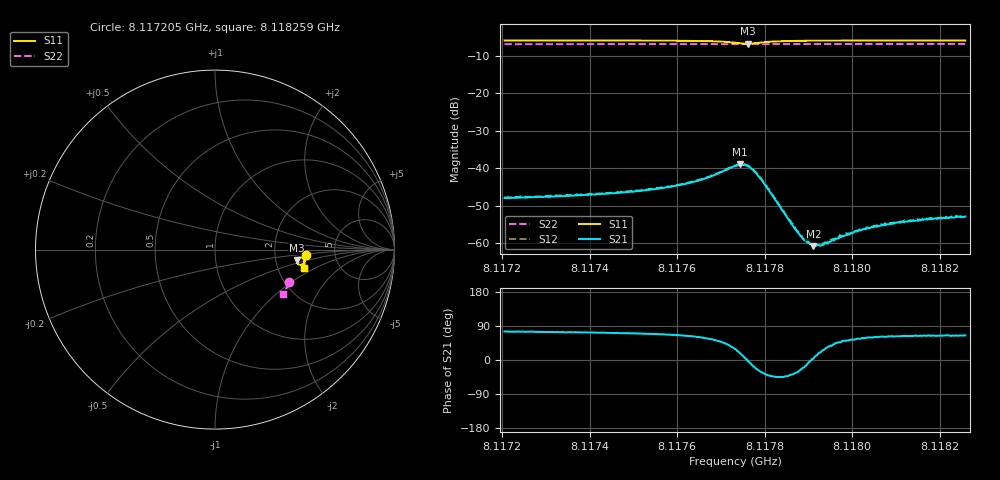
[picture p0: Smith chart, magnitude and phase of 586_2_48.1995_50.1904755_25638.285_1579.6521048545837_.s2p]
#  HZ  S  RI  R  50.00
! Rohde & Schwarz Vector Network Analyzer
! Rohde-Schwarz,ZNB20-2Port,1311601062101988,3.16
! Created: UTC 3/20/2024, 12:02:18 PM
! freq[Hz]  re:S11  im:S11  re:S21  im:S21  re:S12  im:S12  re:S22  im:S22
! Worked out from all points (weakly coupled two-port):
!   401 points, 8.117205 GHz to 8.118259 GHz, reference 50 ohm
!   highest |S21| = -38.96 dB at 8.117743 GHz (marker M1); lowest = -60.8 dB at 8.117911 GHz (marker M2)
!   lowest |S11| = -6.8 dB at 8.117761 GHz (marker M3), VSWR 2.70, Z = 131 - j20.1 ohm
!   |S11| at or under -10 dB: nowhere
!   |S22| runs from -6.9 to -6.8 dB; largest |S21 - S12| = 0.00047
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8.1172054e9  0.5055 -0.0312  0.00101 0.00389  0.00108 0.00395  0.4138 -0.1822
8.1173819e9  0.5038 -0.0461  0.0013 0.00419  0.00131 0.00426  0.4091 -0.1936
8.1174688e9  0.5025 -0.054  0.00154 0.00447  0.00158 0.00455  0.4067 -0.1991
8.1175584e9  0.5002 -0.0634  0.00199 0.00498  0.00206 0.00508  0.4039 -0.2049
8.1175979e9  0.4984 -0.0682  0.00242 0.00535  0.00245 0.00543  0.4028 -0.2076
8.1176505e9  0.4939 -0.0758  0.00342 0.00601  0.00354 0.00606  0.4008 -0.211
8.1177322e9  0.4652 -0.0822  0.00932 0.00521  0.00964 0.0052  0.3972 -0.2157
8.1177427e9  0.4589 -0.0767  0.0107 0.00365  0.0106 0.00363  0.3966 -0.2161
8.1177612e9  0.4549 -0.0603  0.0107 -0.000292  0.011 -0.000373  0.3961 -0.2164
8.117777e9  0.4626 -0.0477  0.00852 -0.00296  0.00867 -0.00297  0.3962 -0.2169
8.1177901e9  0.4723 -0.0435  0.00625 -0.0037  0.00646 -0.00376  0.3964 -0.2176
8.1178639e9  0.4963 -0.0574  0.00138 -0.00106  0.00145 -0.00114  0.395 -0.2228
8.117885e9  0.4976 -0.0615  0.00111 -0.000478  0.00114 -0.000504  0.3942 -0.2243
8.1179087e9  0.4985 -0.0655  0.000956 4.41e-05  0.000966 2.27e-06  0.3936 -0.2259
8.1179113e9  0.4986 -0.0658  0.000914 5.5e-05  0.000956 5.38e-05  0.3935 -0.226
8.1179297e9  0.4989 -0.0685  0.000871 0.000363  0.000909 0.000339  0.3929 -0.2272
8.1179824e9  0.4992 -0.0751  0.000789 0.00099  0.000865 0.00101  0.3911 -0.2308
8.1179982e9  0.4991 -0.077  0.000813 0.00112  0.000799 0.00112  0.3906 -0.2315
8.1180167e9  0.4988 -0.0788  0.000821 0.00123  0.000878 0.00124  0.39 -0.2328
8.1180851e9  0.4983 -0.0856  0.000835 0.00159  0.00089 0.00162  0.3877 -0.2371
8.1181826e9  0.497 -0.094  0.000905 0.00189  0.000947 0.00197  0.3843 -0.2431
8.118259e9  0.4957 -0.1004  0.00097 0.00206  0.001 0.00205  0.3816 -0.2478
